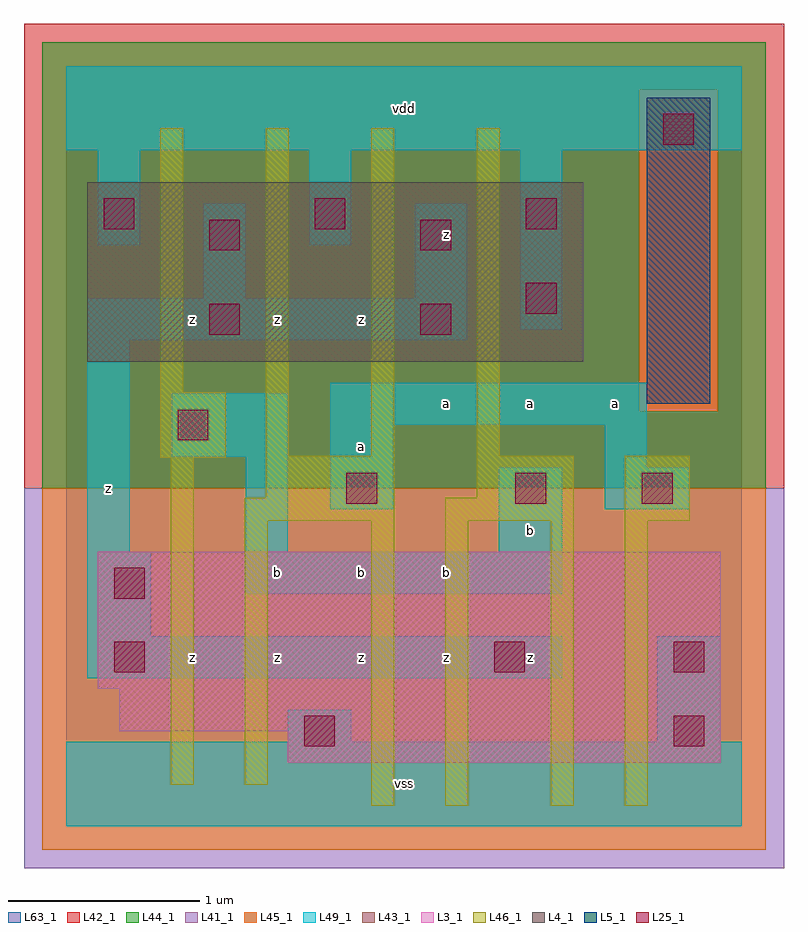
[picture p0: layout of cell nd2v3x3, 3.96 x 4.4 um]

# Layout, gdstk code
import gdstk
lib = gdstk.Library(unit=1e-6, precision=1e-09)
def R(c, l, rs):  # rectangles x0, y0, x1, y1
    for r in rs: c.add(gdstk.rectangle(r[:2], r[2:], *l))
def A(c, l, x, y, w, h, nx, ny, dx, dy):  # array of equal rectangles
    R(c, l, [(x+i*dx, y+j*dy, x+i*dx+w, y+j*dy+h) for i in range(nx) for j in range(ny)])
L3_1 = (3, 1)
L4_1 = (4, 1)
L5_1 = (5, 1)
L25_1 = (25, 1)
L41_1 = (41, 1)
L42_1 = (42, 1)
L43_1 = (43, 1)
L44_1 = (44, 1)
L45_1 = (45, 1)
L46_1 = (46, 1)
L49_1 = (49, 1)
L63_1 = (63, 1)

nd2v3x3 = lib.new_cell('nd2v3x3')
R(nd2v3x3, L3_1, [(1.155,0.33,3.41,0.495), (0.275,0.495,3.41,0.715), (0.165,0.715,3.41,1.43)])
R(nd2v3x3, L4_1, [(0.11,2.42,2.695,3.355)])
R(nd2v3x3, L5_1, [(3.025,2.2,3.355,3.795)])
A(nd2v3x3, L25_1, 0.195, 3.11, 0.16, 0.16, 3, 1, 1.1, 0)
R(nd2v3x3, L25_1, [(1.24,0.415,1.4,0.575), (3.165,0.415,3.325,0.575), (0.25,0.8,0.41,0.96), (2.23,0.8,2.39,0.96), (3.165,0.8,3.325,0.96), (0.25,1.185,0.41,1.345), (1.46,1.68,1.62,1.84), (2.34,1.68,2.5,1.84), (3,1.68,3.16,1.84), (0.58,2.01,0.74,2.17), (0.745,2.56,0.905,2.72), (1.845,2.56,2.005,2.72), (2.395,2.67,2.555,2.83), (0.745,3,0.905,3.16), (1.845,3,2.005,3.16), (3.11,3.55,3.27,3.71)])
R(nd2v3x3, L41_1, [(-0.22,-0.22,3.74,1.76)])
R(nd2v3x3, L42_1, [(-0.22,1.76,3.74,4.18)])
R(nd2v3x3, L43_1, [(1.155,0.33,3.41,0.495), (0.275,0.495,3.41,0.715), (0.165,0.715,3.41,1.43), (3.025,2.2,3.355,3.795), (0.11,2.42,2.695,3.355)])
R(nd2v3x3, L44_1, [(-0.125,1.76,3.645,2.16), (-0.125,2.16,2.985,3.835), (3.395,2.16,3.645,3.835), (-0.125,3.835,3.645,4.085)])
R(nd2v3x3, L45_1, [(-0.125,-0.125,3.645,1.76), (2.985,2.16,3.395,3.835)])
A(nd2v3x3, L46_1, 1.04, 1.93, 0.12, 1.705, 3, 1, 0.55, 0)
R(nd2v3x3, L46_1, [(1.59,0.105,1.71,1.59), (1.975,0.105,2.095,1.59), (2.525,0.105,2.645,1.59), (2.91,0.105,3.03,1.59), (0.545,0.215,0.665,1.92), (0.93,0.215,1.05,1.59), (0.93,1.59,1.71,1.71), (1.975,1.59,2.645,1.71), (2.91,1.59,3.25,1.93), (1.04,1.71,1.71,1.93), (2.14,1.71,2.645,1.93), (0.49,1.92,0.83,2.26), (0.49,2.26,0.61,3.635)])
R(nd2v3x3, L49_1, [(0,0,3.52,0.44), (1.155,0.44,1.485,0.605), (3.08,0.44,3.41,0.99), (0.11,0.77,2.585,0.99), (0.11,0.99,0.44,1.43), (0.935,1.21,2.585,1.43), (0.11,1.43,0.33,2.53), (0.935,1.43,1.155,1.925), (2.255,1.43,2.585,1.87), (1.375,1.65,1.705,2.09), (2.805,1.65,3.245,1.87), (2.805,1.87,3.025,2.09), (0.55,1.925,1.155,2.255), (1.375,2.09,3.025,2.31), (0.11,2.53,2.09,2.75), (2.365,2.585,2.585,3.52), (0.715,2.75,0.935,3.245), (1.815,2.75,2.09,3.245), (0.165,3.025,0.385,3.52), (1.265,3.025,1.485,3.52), (0,3.52,3.52,3.96)])
R(nd2v3x3, L63_1, [(0,0,3.52,3.96)])
nd2v3x3.add(gdstk.Label('z', (0.22,1.76), layer=49, texttype=1))
nd2v3x3.add(gdstk.Label('z', (1.1,0.88), layer=49, texttype=1))
nd2v3x3.add(gdstk.Label('z', (0.66,0.88), layer=49, texttype=1))
nd2v3x3.add(gdstk.Label('b', (1.1,1.32), layer=49, texttype=1))
nd2v3x3.add(gdstk.Label('z', (0.66,2.64), layer=49, texttype=1))
nd2v3x3.add(gdstk.Label('z', (1.1,2.64), layer=49, texttype=1))
nd2v3x3.add(gdstk.Label('vss', (1.76,0.22), layer=49, texttype=1))
nd2v3x3.add(gdstk.Label('z', (1.98,0.88), layer=49, texttype=1))
nd2v3x3.add(gdstk.Label('z', (1.54,0.88), layer=49, texttype=1))
nd2v3x3.add(gdstk.Label('b', (1.54,1.32), layer=49, texttype=1))
nd2v3x3.add(gdstk.Label('b', (1.98,1.32), layer=49, texttype=1))
nd2v3x3.add(gdstk.Label('a', (1.54,1.98), layer=49, texttype=1))
nd2v3x3.add(gdstk.Label('a', (1.98,2.2), layer=49, texttype=1))
nd2v3x3.add(gdstk.Label('z', (1.54,2.64), layer=49, texttype=1))
nd2v3x3.add(gdstk.Label('z', (1.98,3.08), layer=49, texttype=1))
nd2v3x3.add(gdstk.Label('vdd', (1.76,3.74), layer=49, texttype=1))
nd2v3x3.add(gdstk.Label('z', (2.42,0.88), layer=49, texttype=1))
nd2v3x3.add(gdstk.Label('b', (2.42,1.54), layer=49, texttype=1))
nd2v3x3.add(gdstk.Label('a', (2.42,2.2), layer=49, texttype=1))
nd2v3x3.add(gdstk.Label('a', (2.86,2.2), layer=49, texttype=1))

lib.write_gds('nd2v3x3.gds')
